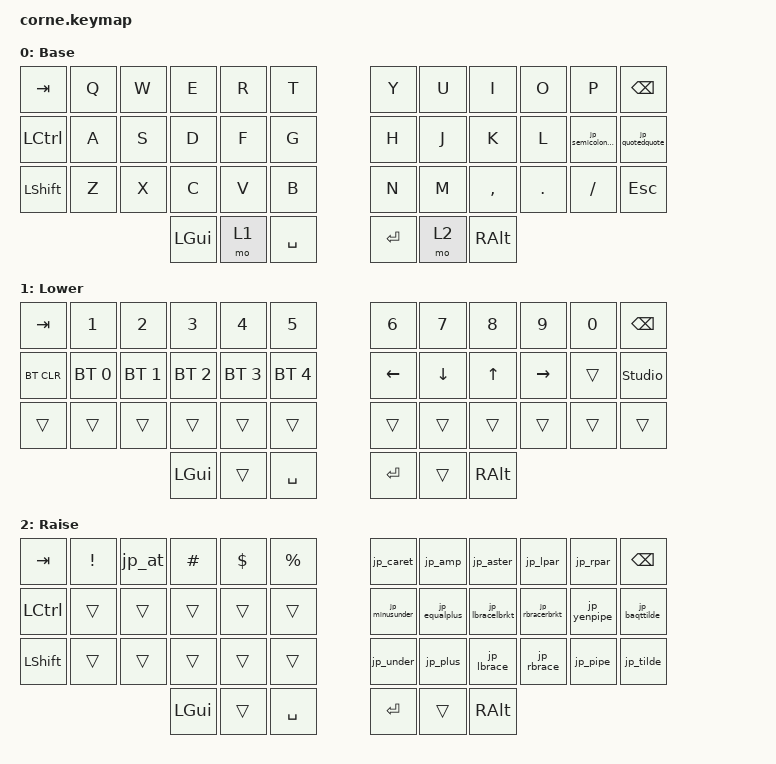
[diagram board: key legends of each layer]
#include <behaviors.dtsi>
#include <behaviors/corne_lighting.dtsi>
#include <behaviors/jpkeysforuslayout.dtsi>
#include <dt-bindings/zmk/keys.h>
#include <dt-bindings/zmk/bt.h>
#include <dt-bindings/led/led.h>

/*
 * Corne v2 RGB data is on Pro Micro D1.
 * Original BLE Micro Pro maps Pro Micro D1 -> nRF52840 P0.08.
 * Corne v2 uses 27 SK6812MINI LEDs per half.
 *
 * Lighting is controlled by the runtime Corne Lighting engine and My ZMK
 * Studio. The old RGB behavior row on Lower is intentionally transparent so
 * standard ZMK underglow cannot race the custom animation engine.
 *
 * jpkeysforuslayout keeps US physical punctuation semantics when the host is
 * using a Japanese/JIS keyboard layout.
 *
 * ZMK Studio:
 *   - left/central firmware is built with studio-rpc-usb-uart
 *   - Lower + far-right home-row key = &studio_unlock
 *   - Extra 1..6 reserve editable layer slots for Studio layer add/remove testing
 */

&pinctrl {
    corne_rgb_spi3_default: corne_rgb_spi3_default {
        group1 {
            psels = <NRF_PSEL(SPIM_MOSI, 0, 8)>;
        };
    };

    corne_rgb_spi3_sleep: corne_rgb_spi3_sleep {
        group1 {
            psels = <NRF_PSEL(SPIM_MOSI, 0, 8)>;
            low-power-enable;
        };
    };
};

&spi3 {
    compatible = "nordic,nrf-spim";
    status = "okay";

    pinctrl-0 = <&corne_rgb_spi3_default>;
    pinctrl-1 = <&corne_rgb_spi3_sleep>;
    pinctrl-names = "default", "sleep";

    corne_led_strip: ws2812@0 {
        compatible = "worldsemi,ws2812-spi";
        reg = <0>;
        spi-max-frequency = <4000000>;
        chain-length = <27>;
        spi-one-frame = <0x70>;
        spi-zero-frame = <0x40>;
        color-mapping = <LED_COLOR_ID_GREEN LED_COLOR_ID_RED LED_COLOR_ID_BLUE>;
    };
};

/ {
    chosen {
        zmk,underglow = &corne_led_strip;
    };

    keymap {
        compatible = "zmk,keymap";

        default_layer {
            display-name = "Base";
            bindings = <
                &kp TAB    &kp Q      &kp W      &kp E      &kp R      &kp T        &kp Y      &kp U      &kp I      &kp O      &kp P                 &kp BSPC
                &kp LCTRL  &kp A      &kp S      &kp D      &kp F      &kp G        &kp H      &kp J      &kp K      &kp L      &jp_semicoloncolon      &jp_quotedquote
                &kp LSHFT  &kp Z      &kp X      &kp C      &kp V      &kp B        &kp N      &kp M      &kp COMMA  &kp DOT    &kp FSLH               &kp ESC
                                             &kp LGUI  &mo 1  &kp SPACE           &kp RET  &mo 2  &kp RALT
            >;
        };

        lower_layer {
            display-name = "Lower";
            bindings = <
                &kp TAB       &kp N1       &kp N2       &kp N3       &kp N4       &kp N5         &kp N6          &kp N7          &kp N8          &kp N9          &kp N0          &kp BSPC
                &bt BT_CLR    &bt BT_SEL 0 &bt BT_SEL 1 &bt BT_SEL 2 &bt BT_SEL 3 &bt BT_SEL 4   &kp LEFT        &kp DOWN        &kp UP          &kp RIGHT       &trans          &studio_unlock
                &trans        &trans        &trans        &trans        &trans        &trans          &trans          &trans          &trans          &trans          &trans          &trans
                                                    &kp LGUI  &trans  &kp SPACE                    &kp RET  &trans  &kp RALT
            >;
        };

        raise_layer {
            display-name = "Raise";
            bindings = <
                &kp TAB    &kp EXCL   &jp_at     &kp HASH   &kp DLLR   &kp PRCNT     &jp_caret       &jp_amp         &jp_aster          &jp_lpar          &jp_rpar          &kp BSPC
                &kp LCTRL  &trans     &trans     &trans     &trans     &trans        &jp_minusunder  &jp_equalplus   &jp_lbracelbrkt    &jp_rbracerbrkt   &jp_yenpipe       &jp_baqttilde
                &kp LSHFT  &trans     &trans     &trans     &trans     &trans        &jp_under       &jp_plus        &jp_lbrace         &jp_rbrace        &jp_pipe          &jp_tilde
                                             &kp LGUI  &trans  &kp SPACE            &kp RET  &trans  &kp RALT
            >;
        };

        studio_extra_1 {
            status = "disabled";
            display-name = "Extra 1";
            bindings = <
                &trans &trans &trans &trans &trans &trans   &trans &trans &trans &trans &trans &trans
                &trans &trans &trans &trans &trans &trans   &trans &trans &trans &trans &trans &trans
                &trans &trans &trans &trans &trans &trans   &trans &trans &trans &trans &trans &trans
                              &trans &trans &trans           &trans &trans &trans
            >;
        };

        studio_extra_2 {
            status = "disabled";
            display-name = "Extra 2";
            bindings = <
                &trans &trans &trans &trans &trans &trans   &trans &trans &trans &trans &trans &trans
                &trans &trans &trans &trans &trans &trans   &trans &trans &trans &trans &trans &trans
                &trans &trans &trans &trans &trans &trans   &trans &trans &trans &trans &trans &trans
                              &trans &trans &trans           &trans &trans &trans
            >;
        };

        studio_extra_3 {
            status = "disabled";
            display-name = "Extra 3";
            bindings = <
                &trans &trans &trans &trans &trans &trans   &trans &trans &trans &trans &trans &trans
                &trans &trans &trans &trans &trans &trans   &trans &trans &trans &trans &trans &trans
                &trans &trans &trans &trans &trans &trans   &trans &trans &trans &trans &trans &trans
                              &trans &trans &trans           &trans &trans &trans
            >;
        };

        studio_extra_4 {
            status = "disabled";
            display-name = "Extra 4";
            bindings = <
                &trans &trans &trans &trans &trans &trans   &trans &trans &trans &trans &trans &trans
                &trans &trans &trans &trans &trans &trans   &trans &trans &trans &trans &trans &trans
                &trans &trans &trans &trans &trans &trans   &trans &trans &trans &trans &trans &trans
                              &trans &trans &trans           &trans &trans &trans
            >;
        };

        studio_extra_5 {
            status = "disabled";
            display-name = "Extra 5";
            bindings = <
                &trans &trans &trans &trans &trans &trans   &trans &trans &trans &trans &trans &trans
                &trans &trans &trans &trans &trans &trans   &trans &trans &trans &trans &trans &trans
                &trans &trans &trans &trans &trans &trans   &trans &trans &trans &trans &trans &trans
                              &trans &trans &trans           &trans &trans &trans
            >;
        };

        studio_extra_6 {
            status = "disabled";
            display-name = "Extra 6";
            bindings = <
                &trans &trans &trans &trans &trans &trans   &trans &trans &trans &trans &trans &trans
                &trans &trans &trans &trans &trans &trans   &trans &trans &trans &trans &trans &trans
                &trans &trans &trans &trans &trans &trans   &trans &trans &trans &trans &trans &trans
                              &trans &trans &trans           &trans &trans &trans
            >;
        };
    };
};
